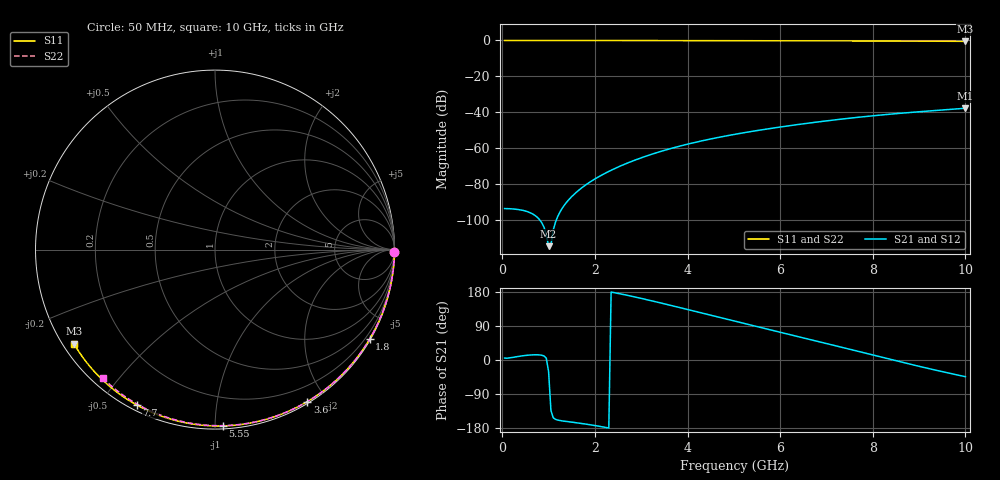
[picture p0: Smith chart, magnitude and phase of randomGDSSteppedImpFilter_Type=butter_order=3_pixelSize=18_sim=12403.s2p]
! freq	dB(S11)	phase(S11)	dB(S12)	phase(S12)
!  dB(S21)	phase(S21)	dB(S22)	phase(S22)
!S-par simulation data
#  GHz  S  DB  R 50
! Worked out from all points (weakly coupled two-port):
!   200 points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, 50 MHz to 10 GHz, reference 50 ohm
!   highest |S21| = -37.82 dB at 10 GHz (marker M1); lowest = -114.8 dB at 1 GHz (marker M2)
!   lowest |S11| = -0.5 dB at 10 GHz (marker M3), VSWR 35.16, Z = 1.55 - j15.1 ohm
!   |S11| at or under -10 dB: nowhere
!   |S22| runs from -0.4 to 0.0 dB; largest |S21 - S12| = 0
!   S11 on the Smith chart (normalised r, x): 50 MHz: open; 1.8 GHz: 0.03, -3.71; 3.6 GHz: 0.02, -1.78; 5.55 GHz: 0.02, -1.04; 7.7 GHz: 0.02, -0.62; 10 GHz: 0.03, -0.30
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0.05  -0.00 -0.9  -93.79 5.1  -93.79 5.1  -0.00 -0.8
0.5  -0.01 -8.5  -95.16 12.0  -95.16 12.0  -0.01 -7.6
1  -0.02 -16.9  -114.76 -30.8  -114.76 -30.8  -0.02 -15.1
1.75  -0.04 -29.3  -81.55 -168.2  -81.55 -168.2  -0.03 -26.1
1.8  -0.04 -30.1  -80.61 -169.1  -80.61 -169.1  -0.03 -26.9
1.85  -0.04 -31.0  -79.73 -170.0  -79.73 -170.0  -0.04 -27.6
2.15  -0.05 -35.8  -75.06 -176.1  -75.06 -176.1  -0.04 -32.0
2.35  -0.05 -39.1  -72.42 179.4  -72.42 179.4  -0.04 -34.9
2.55  -0.05 -42.3  -70.05 174.5  -70.05 174.5  -0.05 -37.8
2.95  -0.06 -48.6  -65.93 164.0  -65.93 164.0  -0.06 -43.5
3.4  -0.07 -55.7  -62.07 151.2  -62.07 151.2  -0.07 -49.8
3.6  -0.08 -58.8  -60.56 145.3  -60.56 145.3  -0.07 -52.6
3.9  -0.09 -63.3  -58.50 136.3  -58.50 136.3  -0.08 -56.7
4.3  -0.10 -69.4  -56.06 124.2  -56.06 124.2  -0.09 -62.1
5.05  -0.12 -80.4  -52.23 101.5  -52.23 101.5  -0.11 -72.1
5.55  -0.14 -87.5  -50.06 86.6  -50.06 86.6  -0.13 -78.5
6.1  -0.17 -95.2  -47.92 70.3  -47.92 70.3  -0.15 -85.5
6.7  -0.20 -103.3  -45.83 52.5  -45.83 52.5  -0.18 -92.9
7.7  -0.27 -116.6  -42.81 22.3  -42.81 22.3  -0.24 -104.8
8.35  -0.32 -125.1  -41.18 2.5  -41.18 2.5  -0.29 -112.4
9.2  -0.40 -136.0  -39.38 -22.4  -39.38 -22.4  -0.36 -122.1
10  -0.49 -146.3  -37.82 -44.0  -37.82 -44.0  -0.44 -131.2
